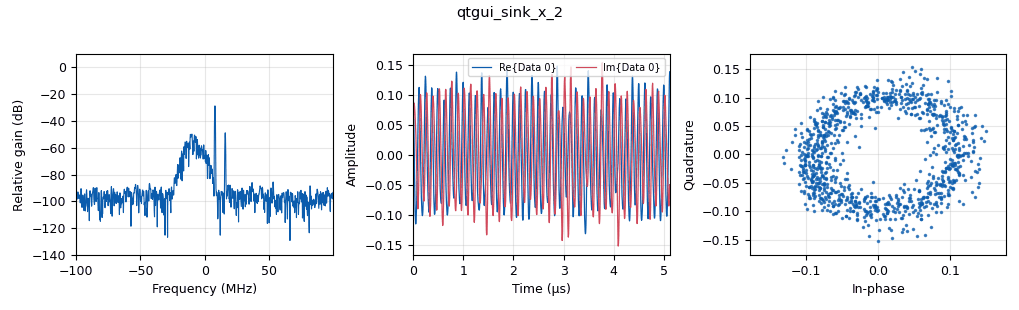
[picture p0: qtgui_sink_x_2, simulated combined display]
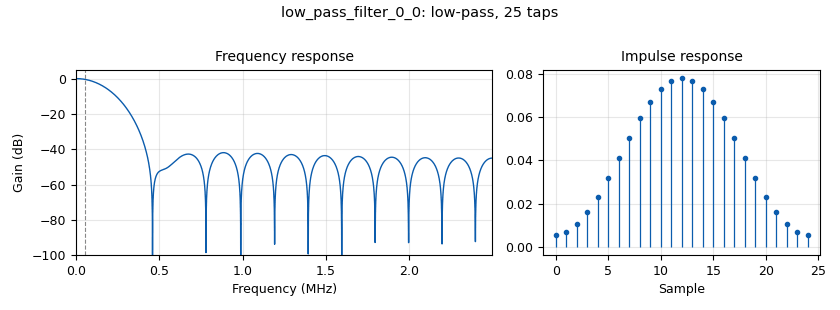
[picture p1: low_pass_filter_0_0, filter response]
<?xml version='1.0' encoding='utf-8'?>
<?grc format='1' created='3.7.12'?>
<flow_graph>
<block>
<key>options</key>
<param><key>id</key><value>rfnoc_pfb_channelizer</value></param>
<param><key>generate_options</key><value>qt_gui</value></param>
</block>
<block>
<key>variable</key>
<param><key>id</key><value>decim_rate</value></param>
<param><key>value</key><value>200e6</value></param>
</block>
<block>
<key>variable</key>
<param><key>id</key><value>freq_0</value></param>
<param><key>value</key><value>-input_sine_freq</value></param>
</block>
<block>
<key>variable</key>
<param><key>id</key><value>freq_1</value></param>
<param><key>value</key><value>input_sine_freq</value></param>
</block>
<block>
<key>variable</key>
<param><key>id</key><value>in_vec_len</value></param>
<param><key>value</key><value>512</value></param>
</block>
<block>
<key>variable</key>
<param><key>id</key><value>input_rate</value></param>
<param><key>value</key><value>5e6</value></param>
</block>
<block>
<key>variable</key>
<param><key>id</key><value>input_sine_freq</value></param>
<param><key>value</key><value>200e3</value></param>
</block>
<block>
<key>variable</key>
<param><key>id</key><value>lowpass_cutoff</value></param>
<param><key>value</key><value>0.01</value></param>
</block>
<block>
<key>variable</key>
<param><key>id</key><value>nchan</value></param>
<param><key>value</key><value>8</value></param>
</block>
<block>
<key>variable</key>
<param><key>id</key><value>samp_rate</value></param>
<param><key>value</key><value>200E6</value></param>
</block>
<block>
<key>variable</key>
<param><key>id</key><value>sine_offset</value></param>
<param><key>value</key><value>200e3</value></param>
</block>
<block>
<key>variable_uhd_device3</key>
<param><key>id</key><value>variable_uhd_device3_0</value></param>
<param><key>dev_addr</key><value>"type=%s" % (device)</value></param>
<param><key>dev_args</key><value>args</value></param>
</block>
<block>
<key>analog_fastnoise_source_x</key>
<param><key>id</key><value>analog_fastnoise_source_x_0</value></param>
<param><key>amp</key><value>0.001</value></param>
<param><key>noise_type</key><value>analog.GR_GAUSSIAN</value></param>
<param><key>type</key><value>complex</value></param>
<param><key>seed</key><value>0</value></param>
<param><key>samples</key><value>8192</value></param>
</block>
<block>
<key>analog_fastnoise_source_x</key>
<param><key>id</key><value>analog_fastnoise_source_x_0_0</value></param>
<param><key>amp</key><value>1.0</value></param>
<param><key>noise_type</key><value>analog.GR_GAUSSIAN</value></param>
<param><key>type</key><value>complex</value></param>
<param><key>seed</key><value>0</value></param>
<param><key>samples</key><value>8192</value></param>
</block>
<block>
<key>analog_sig_source_x</key>
<param><key>id</key><value>analog_sig_source_x_0</value></param>
<param><key>amp</key><value>0.1</value></param>
<param><key>freq</key><value>input_sine_freq</value></param>
<param><key>offset</key><value>0</value></param>
<param><key>type</key><value>complex</value></param>
<param><key>samp_rate</key><value>input_rate</value></param>
<param><key>waveform</key><value>analog.GR_SIN_WAVE</value></param>
</block>
<block>
<key>analog_sig_source_x</key>
<param><key>id</key><value>analog_sig_source_x_0_0</value></param>
<param><key>amp</key><value>0.1</value></param>
<param><key>freq</key><value>-input_sine_freq</value></param>
<param><key>offset</key><value>0</value></param>
<param><key>type</key><value>complex</value></param>
<param><key>samp_rate</key><value>input_rate</value></param>
<param><key>waveform</key><value>analog.GR_SIN_WAVE</value></param>
</block>
<block>
<key>analog_sig_source_x</key>
<param><key>id</key><value>analog_sig_source_x_0_1</value></param>
<param><key>amp</key><value>0.01</value></param>
<param><key>freq</key><value>input_sine_freq+sine_offset</value></param>
<param><key>offset</key><value>0</value></param>
<param><key>type</key><value>complex</value></param>
<param><key>samp_rate</key><value>input_rate</value></param>
<param><key>waveform</key><value>analog.GR_SIN_WAVE</value></param>
</block>
<block>
<key>parameter</key>
<param><key>id</key><value>args</value></param>
<param><key>label</key><value>Ettus Args</value></param>
<param><key>type</key><value>string</value></param>
<param><key>value</key><value></value></param>
</block>
<block>
<key>blocks_add_xx</key>
<param><key>id</key><value>blocks_add_xx_0</value></param>
<param><key>type</key><value>complex</value></param>
<param><key>num_inputs</key><value>4</value></param>
</block>
<block>
<key>blocks_file_sink</key>
<param><key>id</key><value>blocks_file_sink_0</value></param>
<param><key>file</key><value>theseus-chan-0.c32</value></param>
<param><key>type</key><value>complex</value></param>
</block>
<block>
<key>blocks_file_sink</key>
<param><key>id</key><value>blocks_file_sink_1</value></param>
<param><key>file</key><value>theseus-chan-1.c32</value></param>
<param><key>type</key><value>complex</value></param>
</block>
<block>
<key>blocks_file_sink</key>
<param><key>id</key><value>blocks_file_sink_2</value></param>
<param><key>_enabled</key><value>0</value></param>
<param><key>file</key><value>theseus-chan-2.c32</value></param>
<param><key>type</key><value>complex</value></param>
</block>
<block>
<key>blocks_file_sink</key>
<param><key>id</key><value>blocks_file_sink_3</value></param>
<param><key>_enabled</key><value>0</value></param>
<param><key>file</key><value>theseus-chan-3.c32</value></param>
<param><key>type</key><value>complex</value></param>
</block>
<block>
<key>blocks_file_sink</key>
<param><key>id</key><value>blocks_file_sink_4</value></param>
<param><key>_enabled</key><value>0</value></param>
<param><key>file</key><value>theseus-chan-4.c32</value></param>
<param><key>type</key><value>complex</value></param>
</block>
<block>
<key>blocks_file_sink</key>
<param><key>id</key><value>blocks_file_sink_5</value></param>
<param><key>_enabled</key><value>0</value></param>
<param><key>file</key><value>theseus-chan-5.c32</value></param>
<param><key>type</key><value>complex</value></param>
</block>
<block>
<key>blocks_file_sink</key>
<param><key>id</key><value>blocks_file_sink_6</value></param>
<param><key>_enabled</key><value>0</value></param>
<param><key>file</key><value>theseus-chan-6.c32</value></param>
<param><key>type</key><value>complex</value></param>
</block>
<block>
<key>blocks_file_sink</key>
<param><key>id</key><value>blocks_file_sink_7</value></param>
<param><key>file</key><value>theseus-chan-7.c32</value></param>
<param><key>type</key><value>complex</value></param>
</block>
<block>
<key>blocks_multiply_xx</key>
<param><key>id</key><value>blocks_multiply_xx_0</value></param>
<param><key>type</key><value>complex</value></param>
</block>
<block>
<key>blocks_stream_to_vector</key>
<param><key>id</key><value>blocks_stream_to_vector_0</value></param>
<param><key>type</key><value>complex</value></param>
<param><key>num_items</key><value>in_vec_len</value></param>
</block>
<block>
<key>blocks_throttle</key>
<param><key>id</key><value>blocks_throttle_0</value></param>
<param><key>samples_per_second</key><value>input_rate</value></param>
<param><key>type</key><value>complex</value></param>
</block>
<block>
<key>parameter</key>
<param><key>id</key><value>device</value></param>
<param><key>label</key><value>Ettus Device Type</value></param>
<param><key>type</key><value>string</value></param>
<param><key>value</key><value>x300</value></param>
</block>
<block>
<key>low_pass_filter</key>
<param><key>id</key><value>low_pass_filter_0_0</value></param>
<param><key>cutoff_freq</key><value>input_rate*lowpass_cutoff</value></param>
<param><key>decim</key><value>1</value></param>
<param><key>type</key><value>fir_filter_ccf</value></param>
<param><key>gain</key><value>1</value></param>
<param><key>samp_rate</key><value>input_rate</value></param>
<param><key>width</key><value>input_rate*0.1</value></param>
<param><key>win</key><value>firdes.WIN_HAMMING</value></param>
</block>
<block>
<key>qtgui_sink_x</key>
<param><key>id</key><value>qtgui_sink_x_2</value></param>
<param><key>bw</key><value>samp_rate</value></param>
<param><key>fc</key><value>0</value></param>
<param><key>freqchangevar</key><value>None</value></param>
<param><key>fftsize</key><value>1024</value></param>
<param><key>showports</key><value>True</value></param>
<param><key>type</key><value>complex</value></param>
<param><key>wintype</key><value>firdes.WIN_BLACKMAN_hARRIS</value></param>
</block>
<block>
<key>theseus_rfnoc_pfbchan</key>
<param><key>id</key><value>theseus_rfnoc_pfbchan_0</value></param>
<param><key>block_index</key><value>-1</value></param>
<param><key>chan_idx</key><value>[0,1,7]</value></param>
<param><key>device_index</key><value>-1</value></param>
<param><key>fpga_module_name</key><value>noc_block_pfbchan</value></param>
<param><key>vec_len_in</key><value>in_vec_len</value></param>
<param><key>num_chan</key><value>nchan</value></param>
</block>
<block>
<key>uhd_rfnoc_streamer_fifo</key>
<param><key>id</key><value>uhd_rfnoc_streamer_fifo_0</value></param>
<param><key>otw</key><value>sc16</value></param>
<param><key>device_index</key><value>-1</value></param>
<param><key>display_timeout</key><value>1</value></param>
<param><key>block_index</key><value>0</value></param>
<param><key>fpga_module_name</key><value>noc_block_axi_fifo_loopback</value></param>
<param><key>grvlen</key><value>in_vec_len</value></param>
<param><key>type</key><value>fc32</value></param>
</block>
<connection><source_block_id>analog_fastnoise_source_x_0</source_block_id><sink_block_id>blocks_add_xx_0</sink_block_id><source_key>0</source_key><sink_key>0</sink_key></connection>
<connection><source_block_id>analog_fastnoise_source_x_0_0</source_block_id><sink_block_id>low_pass_filter_0_0</sink_block_id><source_key>0</source_key><sink_key>0</sink_key></connection>
<connection><source_block_id>analog_sig_source_x_0</source_block_id><sink_block_id>blocks_add_xx_0</sink_block_id><source_key>0</source_key><sink_key>2</sink_key></connection>
<connection><source_block_id>analog_sig_source_x_0_0</source_block_id><sink_block_id>blocks_multiply_xx_0</sink_block_id><source_key>0</source_key><sink_key>1</sink_key></connection>
<connection><source_block_id>analog_sig_source_x_0_1</source_block_id><sink_block_id>blocks_add_xx_0</sink_block_id><source_key>0</source_key><sink_key>3</sink_key></connection>
<connection><source_block_id>blocks_add_xx_0</source_block_id><sink_block_id>blocks_throttle_0</sink_block_id><source_key>0</source_key><sink_key>0</sink_key></connection>
<connection><source_block_id>blocks_multiply_xx_0</source_block_id><sink_block_id>blocks_add_xx_0</sink_block_id><source_key>0</source_key><sink_key>1</sink_key></connection>
<connection><source_block_id>blocks_stream_to_vector_0</source_block_id><sink_block_id>uhd_rfnoc_streamer_fifo_0</sink_block_id><source_key>0</source_key><sink_key>0</sink_key></connection>
<connection><source_block_id>blocks_throttle_0</source_block_id><sink_block_id>blocks_stream_to_vector_0</sink_block_id><source_key>0</source_key><sink_key>0</sink_key></connection>
<connection><source_block_id>blocks_throttle_0</source_block_id><sink_block_id>qtgui_sink_x_2</sink_block_id><source_key>0</source_key><sink_key>0</sink_key></connection>
<connection><source_block_id>low_pass_filter_0_0</source_block_id><sink_block_id>blocks_multiply_xx_0</sink_block_id><source_key>0</source_key><sink_key>0</sink_key></connection>
<connection><source_block_id>theseus_rfnoc_pfbchan_0</source_block_id><sink_block_id>blocks_file_sink_0</sink_block_id><source_key>0</source_key><sink_key>0</sink_key></connection>
<connection><source_block_id>theseus_rfnoc_pfbchan_0</source_block_id><sink_block_id>blocks_file_sink_1</sink_block_id><source_key>1</source_key><sink_key>0</sink_key></connection>
<connection><source_block_id>theseus_rfnoc_pfbchan_0</source_block_id><sink_block_id>blocks_file_sink_7</sink_block_id><source_key>2</source_key><sink_key>0</sink_key></connection>
<connection><source_block_id>uhd_rfnoc_streamer_fifo_0</source_block_id><sink_block_id>theseus_rfnoc_pfbchan_0</sink_block_id><source_key>0</source_key><sink_key>0</sink_key></connection>
</flow_graph>
